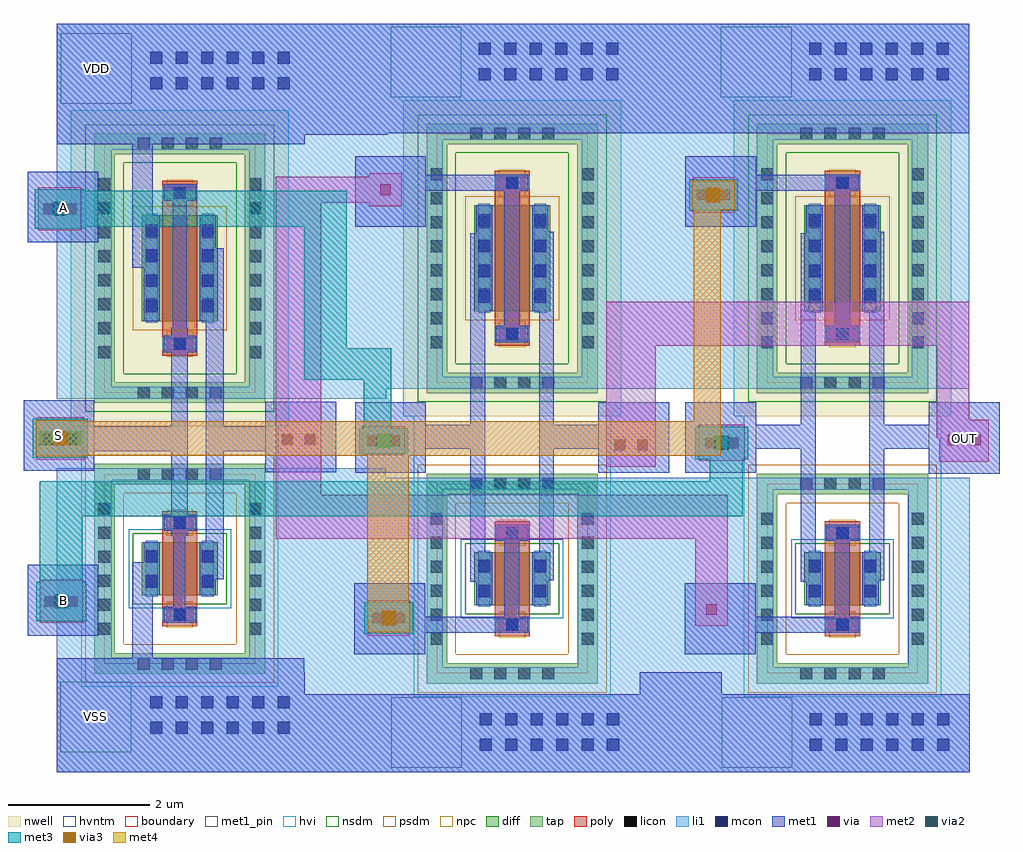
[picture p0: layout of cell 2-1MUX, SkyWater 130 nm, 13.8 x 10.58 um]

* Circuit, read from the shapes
.subckt 2-1MUX A B OUT S VDD VSS
XM1 TransmissionGate_1/SN S VSS VSS sky130_fd_pr__nfet_g5v0d10v5 w=0.75 l=0.5
XM2 OUT S A VSS sky130_fd_pr__nfet_g5v0d10v5 w=0.75 l=0.5
XM3 OUT TransmissionGate_1/SN B VSS sky130_fd_pr__nfet_g5v0d10v5 w=0.75 l=0.5
XM4 TransmissionGate_1/SN S VDD VDD sky130_fd_pr__pfet_g5v0d10v5 w=1.5 l=0.5
XM5 OUT TransmissionGate_1/SN A VDD sky130_fd_pr__pfet_g5v0d10v5 w=1.5 l=0.5
XM6 OUT S B VDD sky130_fd_pr__pfet_g5v0d10v5 w=1.5 l=0.5
.ends

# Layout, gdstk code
import gdstk
lib = gdstk.Library(unit=1e-6, precision=1e-09)
def R(c, l, rs):  # rectangles x0, y0, x1, y1
    for r in rs: c.add(gdstk.rectangle(r[:2], r[2:], *l))
def A(c, l, x, y, w, h, nx, ny, dx, dy):  # array of equal rectangles
    R(c, l, [(x+i*dx, y+j*dy, x+i*dx+w, y+j*dy+h) for i in range(nx) for j in range(ny)])
nwell = (64, 20)
diff = (65, 20)
tap = (65, 44)
poly = (66, 20)
licon = (66, 44)
li1 = (67, 20)
mcon = (67, 44)
met1_pin = (68, 16)
met1 = (68, 20)
via = (68, 44)
met2 = (69, 20)
via2 = (69, 44)
met3 = (70, 20)
via3 = (70, 44)
met4 = (71, 20)
hvi = (75, 20)
nsdm = (93, 44)
psdm = (94, 20)
npc = (95, 20)
hvntm = (125, 20)
boundary = (235, 4)

sky130_fd_pr__pfet_g5v0d = lib.new_cell('sky130_fd_pr__pfet_g5v0d10v5_7EBZY6')
R(sky130_fd_pr__pfet_g5v0d, nwell, [(-1.54,-2.235,1.54,2.235)])
R(sky130_fd_pr__pfet_g5v0d, diff, [(-0.54,-0.75,0.54,0.75)])
R(sky130_fd_pr__pfet_g5v0d, tap, [(-1.21,-1.905,1.21,-1.615), (-1.21,-1.615,-0.92,1.615), (0.92,-1.615,1.21,1.615), (-1.21,1.615,1.21,1.905)])
R(sky130_fd_pr__pfet_g5v0d, poly, [(-0.25,-1.235,0.25,1.235)])
A(sky130_fd_pr__pfet_g5v0d, licon, -0.595, -1.845, 0.17, 0.17, 4, 2, 0.34, 3.52)
A(sky130_fd_pr__pfet_g5v0d, licon, -1.15, -1.275, 0.17, 0.17, 1, 8, 0, 0.34)
A(sky130_fd_pr__pfet_g5v0d, licon, 0.98, -1.275, 0.17, 0.17, 1, 8, 0, 0.34)
A(sky130_fd_pr__pfet_g5v0d, licon, -0.48, -0.595, 0.17, 0.17, 1, 4, 0, 0.34)
A(sky130_fd_pr__pfet_g5v0d, licon, 0.31, -0.595, 0.17, 0.17, 1, 4, 0, 0.34)
R(sky130_fd_pr__pfet_g5v0d, licon, [(-0.085,-1.155,0.085,-0.985), (-0.085,0.985,0.085,1.155)])
R(sky130_fd_pr__pfet_g5v0d, li1, [(-1.15,-1.845,1.15,-1.675), (-1.15,-1.675,-0.98,1.675), (0.98,-1.675,1.15,1.675), (-0.25,-1.155,0.25,-0.985), (-0.48,-0.77,-0.31,0.77), (0.31,-0.77,0.48,0.77), (-0.25,0.985,0.25,1.155), (-1.15,1.675,1.15,1.845)])
A(sky130_fd_pr__pfet_g5v0d, mcon, -0.48, -0.625, 0.17, 0.17, 1, 4, 0, 0.36)
A(sky130_fd_pr__pfet_g5v0d, mcon, 0.31, -0.625, 0.17, 0.17, 1, 4, 0, 0.36)
R(sky130_fd_pr__pfet_g5v0d, mcon, [(-0.085,-1.155,0.085,-0.985), (-0.085,0.985,0.085,1.155)])
R(sky130_fd_pr__pfet_g5v0d, met1, [(-0.23,-1.185,0.23,-0.955), (-0.51,-0.75,-0.28,0.75), (0.28,-0.75,0.51,0.75), (-0.23,0.955,0.23,1.185)])
R(sky130_fd_pr__pfet_g5v0d, hvi, [(-1.54,-2.235,1.54,2.235)])
R(sky130_fd_pr__pfet_g5v0d, nsdm, [(-1.335,-2.03,1.335,-1.49), (-1.335,-1.49,-0.795,1.49), (0.795,-1.49,1.335,1.49), (-1.335,1.49,1.335,2.03)])
R(sky130_fd_pr__pfet_g5v0d, psdm, [(-0.665,-0.875,0.665,0.875)])
R(sky130_fd_pr__pfet_g5v0d, npc, [(-0.185,-1.255,0.185,-0.885), (-0.185,0.885,0.185,1.255)])
R(sky130_fd_pr__pfet_g5v0d, boundary, [(-1.065,-1.76,1.065,1.76)])

sky130_fd_pr__nfet_g5v0d = lib.new_cell('sky130_fd_pr__nfet_g5v0d10v5_6XHARQ')
R(sky130_fd_pr__nfet_g5v0d, diff, [(-0.54,-0.375,0.54,0.375)])
R(sky130_fd_pr__nfet_g5v0d, tap, [(-1.21,-1.485,1.21,-1.195), (-1.21,-1.195,-0.92,1.195), (0.92,-1.195,1.21,1.195), (-1.21,1.195,1.21,1.485)])
R(sky130_fd_pr__nfet_g5v0d, poly, [(-0.25,-0.815,0.25,0.815)])
A(sky130_fd_pr__nfet_g5v0d, licon, -0.595, -1.425, 0.17, 0.17, 4, 2, 0.34, 2.68)
A(sky130_fd_pr__nfet_g5v0d, licon, -1.15, -0.935, 0.17, 0.17, 1, 6, 0, 0.34)
A(sky130_fd_pr__nfet_g5v0d, licon, 0.98, -0.935, 0.17, 0.17, 1, 6, 0, 0.34)
R(sky130_fd_pr__nfet_g5v0d, licon, [(-0.085,-0.735,0.085,-0.565), (-0.48,-0.255,-0.31,-0.085), (0.31,-0.255,0.48,-0.085), (-0.48,0.085,-0.31,0.255), (0.31,0.085,0.48,0.255), (-0.085,0.565,0.085,0.735)])
R(sky130_fd_pr__nfet_g5v0d, li1, [(-1.15,-1.425,1.15,-1.255), (-1.15,-1.255,-0.98,1.255), (0.98,-1.255,1.15,1.255), (-0.25,-0.735,0.25,-0.565), (-0.48,-0.395,-0.31,0.395), (0.31,-0.395,0.48,0.395), (-0.25,0.565,0.25,0.735), (-1.15,1.255,1.15,1.425)])
R(sky130_fd_pr__nfet_g5v0d, mcon, [(-0.085,-0.735,0.085,-0.565), (-0.48,-0.265,-0.31,-0.095), (0.31,-0.265,0.48,-0.095), (-0.48,0.095,-0.31,0.265), (0.31,0.095,0.48,0.265), (-0.085,0.565,0.085,0.735)])
R(sky130_fd_pr__nfet_g5v0d, met1, [(-0.23,-0.765,0.23,-0.535), (-0.51,-0.375,-0.28,0.375), (0.28,-0.375,0.51,0.375), (-0.23,0.535,0.23,0.765)])
R(sky130_fd_pr__nfet_g5v0d, hvi, [(-1.395,-1.67,1.395,1.67)])
R(sky130_fd_pr__nfet_g5v0d, nsdm, [(-0.665,-0.5,0.665,0.5)])
R(sky130_fd_pr__nfet_g5v0d, psdm, [(-1.335,-1.61,1.335,-1.07), (-1.335,-1.07,-0.795,1.07), (0.795,-1.07,1.335,1.07), (-1.335,1.07,1.335,1.61)])
R(sky130_fd_pr__nfet_g5v0d, npc, [(-0.185,-0.835,0.185,-0.465), (-0.185,0.465,0.185,0.835)])
R(sky130_fd_pr__nfet_g5v0d, hvntm, [(-0.725,-0.56,0.725,0.56)])
R(sky130_fd_pr__nfet_g5v0d, boundary, [(-1.065,-1.34,1.065,1.34)])

inverter = lib.new_cell('Inverter')
R(inverter, li1, [(4.95,-2.22,8.45,-0.93), (4.95,-0.93,5.73,1.91), (7.67,-0.93,8.45,1.91), (4.95,1.91,5.54,1.92), (7.84,1.91,8.45,1.92), (4.95,2.9,5.56,2.92), (7.84,2.9,8.46,2.92), (4.95,2.92,5.73,6.43), (7.67,2.92,8.46,6.43), (4.95,6.43,8.46,8.19)])
A(inverter, mcon, 6.275, -1.835, 0.17, 0.17, 6, 2, 0.36, 0.36)
A(inverter, mcon, 6.275, 7.275, 0.17, 0.17, 6, 2, 0.36, 0.36)
R(inverter, met1_pin, [(5,-2.1,6,-1.1), (7.9,1.86,8.9,2.86), (4.48,1.88,5.48,2.88), (5.01,7.07,6.01,8.07)])
R(inverter, met1, [(4.95,-2.22,8.45,-0.77), (6.02,-0.77,6.31,0.59), (6.6,-0.24,6.77,0.96), (7.06,0.35,7.31,2.16), (6.57,0.96,6.8,2.16), (7.9,1.86,8.9,2.16), (4.48,1.88,5.48,2.16), (4.48,2.16,6.8,2.51), (7.06,2.16,8.9,2.51), (4.48,2.51,5.48,2.88), (6.57,2.51,6.8,3.9), (7.06,2.51,7.31,5.02), (7.9,2.51,8.9,2.86), (6.59,3.9,6.79,5.89), (6.02,4.75,6.31,6.5), (7.19,5.02,7.31,5.03), (4.95,6.5,8.46,8.19)])
R(inverter, hvi, [(5.295,2.165,8.085,2.51)])
inverter.add(gdstk.Reference(sky130_fd_pr__pfet_g5v0d, (6.69,4.745)))
inverter.add(gdstk.Reference(sky130_fd_pr__nfet_g5v0d, (6.69,0.495)))
inverter.add(gdstk.Label('Vin', (4.98,2.38), layer=68, texttype=5))
inverter.add(gdstk.Label('VDD', (5.51,7.57), layer=68, texttype=5))
inverter.add(gdstk.Label('VSS', (5.5,-1.6), layer=68, texttype=5))
inverter.add(gdstk.Label('Vout', (8.4,2.36), layer=68, texttype=5))

transmissiongate = lib.new_cell('TransmissionGate')
R(transmissiongate, li1, [(1.07,2.1,4.66,3.51), (1.07,3.51,1.71,6.26), (3.79,3.51,4.66,6.26), (1.07,7.52,1.71,10.17), (4.01,7.52,4.65,11.06), (1.07,10.17,1.78,10.78), (1.07,10.78,1.71,11.06), (1.07,11.06,4.65,12.68)])
A(transmissiongate, mcon, 2.4, 2.405, 0.17, 0.17, 6, 2, 0.36, 0.36)
A(transmissiongate, mcon, 2.39, 11.885, 0.17, 0.17, 6, 2, 0.36, 0.36)
R(transmissiongate, met1_pin, [(1.15,2.16,2.15,3.16), (0.63,3.77,1.63,4.77), (0.64,6.33,1.64,7.33), (4.08,6.33,5.08,7.33), (0.64,9.81,1.64,10.81), (1.14,11.64,2.14,12.64)])
R(transmissiongate, met1, [(1.07,2.1,4.66,3.2), (0.63,3.77,1.63,4.07), (0.63,4.07,2.72,4.3), (0.63,4.3,1.63,4.77), (2.75,4.3,2.96,5.56), (2.27,4.79,2.48,6.67), (3.24,4.81,3.45,6.67), (0.64,6.33,1.64,6.67), (4.08,6.33,5.08,6.67), (0.64,6.67,2.48,7.01), (3.24,6.67,5.08,7.01), (0.64,7.01,1.64,7.33), (2.27,7.01,2.48,9.72), (3.24,7.01,3.45,9.74), (4.08,7.01,5.08,7.33), (2.75,8.2,2.97,10.32), (0.64,9.81,1.64,10.32), (0.64,10.32,3.01,10.55), (0.64,10.55,1.64,10.81), (1.07,11.13,4.65,12.68)])
R(transmissiongate, hvi, [(1.465,6.505,4.255,7.13)])
transmissiongate.add(gdstk.Reference(sky130_fd_pr__pfet_g5v0d, (2.86,9.365)))
transmissiongate.add(gdstk.Reference(sky130_fd_pr__nfet_g5v0d, (2.86,4.835)))
transmissiongate.add(gdstk.Label('Out', (4.58,6.83), layer=68, texttype=5))
transmissiongate.add(gdstk.Label('In', (1.14,6.83), layer=68, texttype=5))
transmissiongate.add(gdstk.Label('SP', (1.14,10.31), layer=68, texttype=5))
transmissiongate.add(gdstk.Label('VDD', (1.64,12.14), layer=68, texttype=5))
transmissiongate.add(gdstk.Label('VSS', (1.65,2.66), layer=68, texttype=5))
transmissiongate.add(gdstk.Label('SN', (1.13,4.27), layer=68, texttype=5))

c_2_1mux = lib.new_cell('2-1MUX')
R(c_2_1mux, li1, [(-4.21,3,0.44,3.16), (4.03,3,5.13,7.16), (-0.71,3.16,0.44,4.1), (-0.71,4.1,0.5,4.5), (-0.71,4.5,0.44,7.3), (-0.7,8.28,0.45,11.88), (4.02,8.42,5.17,13.58), (-0.925,11.88,0.47,12.015), (-0.7,12.015,0.45,13.57), (-4.21,13.57,0.45,13.58)])
R(c_2_1mux, met1_pin, [(-4.16,3.28,-3.16,4.28), (-4.62,4.93,-3.62,5.93), (8.12,7.22,9.12,8.22), (-4.68,7.26,-3.68,8.26), (-4.62,10.49,-3.62,11.49), (-4.15,12.45,-3.15,13.45)])
R(c_2_1mux, met1, [(-4.21,3,0.44,3.16), (4.03,3,5.19,4.41), (-0.71,3.16,0.44,4.1), (-4.16,3.28,-3.16,4.28), (-0.71,4.1,-0.7,4.41), (-4.62,4.93,-3.62,5.93), (0.14,4.98,0.83,5.38), (4.77,5.12,5.33,5.48), (8.12,7.22,9.12,8.22), (-4.68,7.26,-3.68,8.26), (3.51,7.37,4.31,7.88), (4.82,7.45,5.57,7.86), (-1.16,7.46,-0.42,7.95), (0.07,7.53,0.76,7.84), (-4.62,10.49,-3.62,11.49), (4.73,10.96,5.42,11.36), (0.16,11.05,0.72,11.42), (-0.7,12.015,0.47,13.57), (4,12.03,5.28,13.58), (-4.15,12.45,-3.15,13.45), (-4.21,13.57,0.47,13.58)])
R(c_2_1mux, via, [(0.25,5.105,0.4,5.255), (0.57,5.105,0.72,5.255), (4.975,5.225,5.125,5.375), (-4.38,5.34,-4.23,5.49), (-4.06,5.34,-3.91,5.49), (3.675,7.55,3.825,7.7), (3.995,7.55,4.145,7.7), (4.96,7.58,5.11,7.73), (5.28,7.58,5.43,7.73), (0.18,7.61,0.33,7.76), (0.5,7.61,0.65,7.76), (8.385,7.62,8.535,7.77), (8.705,7.62,8.855,7.77), (-1.025,7.63,-0.875,7.78), (-0.705,7.63,-0.555,7.78), (-4.395,7.645,-4.245,7.795), (-4.075,7.645,-3.925,7.795), (-4.4,10.89,-4.25,11.04), (-4.08,10.89,-3.93,11.04), (4.84,11.085,4.99,11.235), (5.16,11.085,5.31,11.235), (0.365,11.16,0.515,11.31)])
R(c_2_1mux, met2, [(0.19,4.93,0.78,5.43), (4.82,5.07,5.28,6.3), (-4.45,5.11,-3.84,5.72), (-1.11,6.3,5.28,6.92), (-1.11,6.92,-0.47,11.05), (3.56,7.32,4.26,9.03), (8.27,7.39,8.97,7.73), (4.87,7.4,5.52,7.91), (-4.5,7.42,-3.82,8.02), (0.12,7.48,0.71,7.89), (8.23,7.73,8.97,7.98), (8.23,7.98,8.69,9.03), (3.56,9.03,8.69,9.65), (-4.47,10.66,-3.86,11.27), (4.78,10.91,5.37,11.41), (0.21,11,0.67,11.05), (-1.11,11.05,0.67,11.42), (0.21,11.42,0.67,11.47)])
R(c_2_1mux, via2, [(0.385,5.08,0.585,5.28), (-4.245,5.315,-4.045,5.515), (5.095,7.555,5.295,7.755), (0.315,7.585,0.515,7.785), (-4.46,7.62,-4.26,7.82), (-4.06,7.62,-3.86,7.82), (-4.265,10.865,-4.065,11.065), (4.975,11.06,5.175,11.26)])
R(c_2_1mux, met3, [(0.14,4.955,0.83,5.405), (-4.5,5.135,-3.79,5.695), (-4.45,5.695,-3.84,6.62), (-4.45,6.62,5.49,7.11), (5.02,7.11,5.49,7.425), (4.82,7.425,5.57,7.885), (-4.55,7.445,-3.77,7.995), (0.07,7.505,0.76,7.865), (0.13,7.865,0.52,8.55), (-0.71,8.55,0.52,8.99), (-0.71,8.99,-0.11,10.71), (-4.52,10.685,-3.81,10.71), (-4.52,10.71,-0.11,11.22), (4.73,10.935,5.42,11.385), (-4.52,11.22,-3.81,11.245)])
R(c_2_1mux, via3, [(0.385,5.08,0.585,5.28), (-4.26,7.62,-4.06,7.82), (4.975,11.06,5.175,11.26)])
R(c_2_1mux, met4, [(0.185,4.975,0.785,5.13), (0.18,5.13,0.785,5.385), (0.18,5.385,0.77,7.47), (-4.505,7.465,-3.815,7.47), (-4.505,7.47,5.18,7.96), (-4.505,7.96,-3.815,7.975), (4.8,7.96,5.18,10.955), (4.775,10.955,5.375,11.365)])
c_2_1mux.add(gdstk.Reference(inverter, (-9.16,5.38)))
c_2_1mux.add(gdstk.Reference(transmissiongate, (4.04,0.9)))
c_2_1mux.add(gdstk.Reference(transmissiongate, (-0.63,0.9)))
c_2_1mux.add(gdstk.Label('A', (-4.12,10.99), layer=68, texttype=5))
c_2_1mux.add(gdstk.Label('B', (-4.12,5.43), layer=68, texttype=5))
c_2_1mux.add(gdstk.Label('S', (-4.18,7.76), layer=68, texttype=5))
c_2_1mux.add(gdstk.Label('VDD', (-3.65,12.95), layer=68, texttype=5))
c_2_1mux.add(gdstk.Label('VSS', (-3.66,3.78), layer=68, texttype=5))
c_2_1mux.add(gdstk.Label('OUT', (8.62,7.72), layer=68, texttype=5))

lib.write_gds('2-1MUX.gds')
